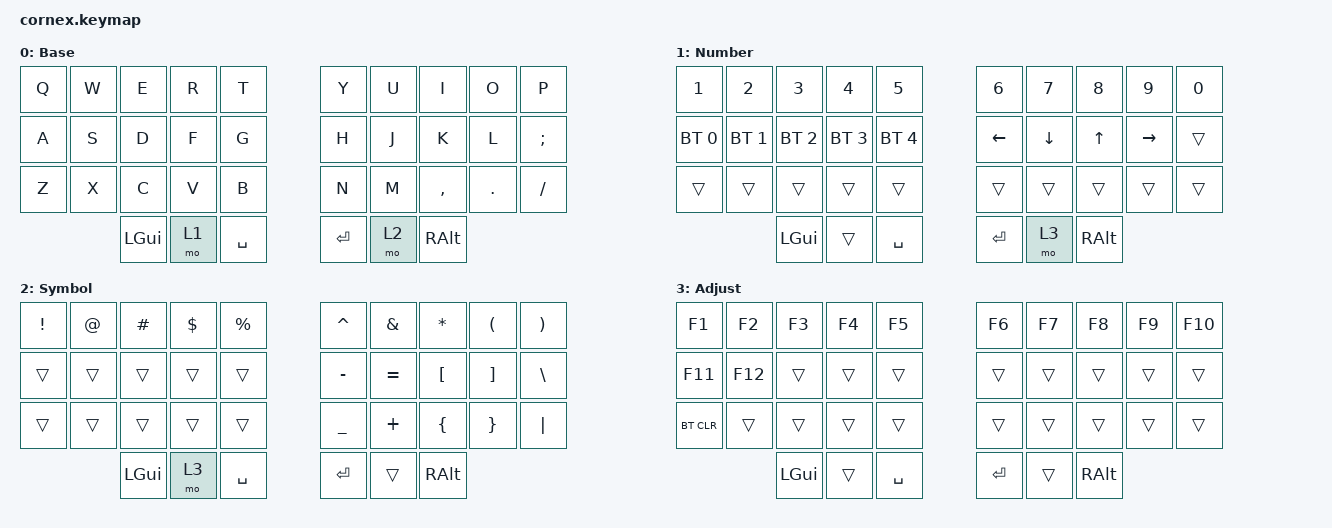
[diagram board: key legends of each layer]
/*
 * Copyright (c) 2020 The ZMK Contributors
 *
 * SPDX-License-Identifier: MIT
 */

#include <behaviors.dtsi>
#include <dt-bindings/zmk/keys.h>
#include <dt-bindings/zmk/bt.h>

/ {
        combos {
		compatible = "zmk,combos";
		
		combo_studio_unlock {
			timeout-ms = <50>;
			key-positions = <0 1>;
			bindings = <&studio_unlock>;
			layers = <0>;
		};
	};

	keymap {
		compatible = "zmk,keymap";

		default_layer {
			label = "Base";
			bindings = <
		//╭──────────┬──────────┬──────────┬──────────┬──────────╮   ╭──────────┬──────────┬──────────┬──────────┬──────────╮
		//│  Q       │  W       │  E       │  R       │  T       │   │  Y       │  U       │  I       │  O       │  P       │
			&kp Q      &kp W      &kp E      &kp R      &kp T          &kp Y      &kp U      &kp I      &kp O      &kp P
		//├──────────┼──────────┼──────────┼──────────┼──────────┤   ├──────────┼──────────┼──────────┼──────────┼──────────┤
		//│  A       │  S       │  D       │  F       │  G       │   │  H       │  J       │  K       │  L       │ ; :      │
			&kp A      &kp S      &kp D      &kp F      &kp G          &kp H      &kp J      &kp K      &kp L      &kp SEMI
		//├──────────┼──────────┼──────────┼──────────┼──────────┤   ├──────────┼──────────┼──────────┼──────────┼──────────┤
		//│  Z       │  X       │  C       │  V       │  B       │   │  N       │  M       │ , <      │ . >      │ / ?      │
			&kp Z      &kp X      &kp C      &kp V      &kp B          &kp N      &kp M      &kp COMMA  &kp DOT    &kp FSLH
		//╰──────────┴──────────┴──────────┼──────────┼──────────┼──────────┤   ├──────────┼──────────┼──────────┼──────────┴──────────┴──────────╯
											 &kp LGUI   &mo 1      &kp SPACE      &kp RET    &mo 2      &kp RALT
		//                                 ╰──────────┴──────────┴──────────╯   ╰──────────┴──────────┴──────────╯
			>;
		};

		lower_layer {
			label = "Number";
			bindings = <
		//╭──────────┬──────────┬──────────┬──────────┬──────────╮   ╭──────────┬──────────┬──────────┬──────────┬──────────╮
		//│  1       │  2       │  3       │  4       │  5       │   │  6       │  7       │  8       │  9       │  0       │
			&kp N1     &kp N2     &kp N3     &kp N4     &kp N5         &kp N6     &kp N7     &kp N8     &kp N9     &kp N0
		//├──────────┼──────────┼──────────┼──────────┼──────────┤   ├──────────┼──────────┼──────────┼──────────┼──────────┤
		//│ BT1      │ BT2      │ BT3      │ BT4      │ BT5      │   │ LEFT     │ DOWN     │ UP       │ RIGHT    │          │
		   &bt BT_SEL 0 &bt BT_SEL 1 &bt BT_SEL 2 &bt BT_SEL 3 &bt BT_SEL 4  &kp LEFT   &kp DOWN   &kp UP     &kp RIGHT  &trans
		//├──────────┼──────────┼──────────┼──────────┼──────────┤   ├──────────┼──────────┼──────────┼──────────┼──────────┤
		//│          │          │          │          │          │   │          │          │          │          │          │
			&trans     &trans     &trans     &trans     &trans         &trans     &trans     &trans     &trans     &trans
		//╰──────────┴──────────┴──────────┼──────────┼──────────┼──────────┤   ├──────────┼──────────┼──────────┼──────────┴──────────┴──────────╯
											 &kp LGUI   &trans     &kp SPACE      &kp RET    &mo 3      &kp RALT
		//                                 ╰──────────┴──────────┴──────────╯   ╰──────────┴──────────┴──────────╯
			>;
		};

		raise_layer {
			label = "Symbol";
			bindings = <
		//╭──────────┬──────────┬──────────┬──────────┬──────────╮   ╭──────────┬──────────┬──────────┬──────────┬──────────╮
		//│  !       │  @       │  #       │  $       │  %       │   │  ^       │  &       │  *       │  (       │  )       │
			&kp EXCL   &kp AT     &kp HASH   &kp DLLR   &kp PRCNT      &kp CARET  &kp AMPS   &kp ASTRK  &kp LPAR   &kp RPAR
		//├──────────┼──────────┼──────────┼──────────┼──────────┤   ├──────────┼──────────┼──────────┼──────────┼──────────┤
		//│          │          │          │          │          │   │  -       │  =       │  [       │  ]       │  \       │
			&trans     &trans     &trans     &trans     &trans         &kp MINUS  &kp EQUAL  &kp LBKT   &kp RBKT   &kp BSLH
		//├──────────┼──────────┼──────────┼──────────┼──────────┤   ├──────────┼──────────┼──────────┼──────────┼──────────┤
		//│          │          │          │          │          │   │  _       │  +       │  {       │  }       │  |       │
			&trans     &trans     &trans     &trans     &trans         &kp UNDER  &kp PLUS   &kp LBRC   &kp RBRC   &kp PIPE
		//╰──────────┴──────────┴──────────┼──────────┼──────────┼──────────┤   ├──────────┼──────────┼──────────┼──────────┴──────────┴──────────╯
											 &kp LGUI   &mo 3      &kp SPACE      &kp RET    &trans     &kp RALT
		//                                 ╰──────────┴──────────┴──────────╯   ╰──────────┴──────────┴──────────╯
			>;
		};

		adjust_layer {
			label = "Adjust";
			bindings = <
		//╭──────────┬──────────┬──────────┬──────────┬──────────╮   ╭──────────┬──────────┬──────────┬──────────┬──────────╮
		//│ F1       │  F2      │  F3      │  F4      │  F5      │   │  F6      │  F7      │  F8      │  F9      │  F10     │
			&kp F1     &kp F2     &kp F3     &kp F4     &kp F5         &kp F6     &kp F7     &kp F8     &kp F9     &kp F10
		//├──────────┼──────────┼──────────┼──────────┼──────────┤   ├──────────┼──────────┼──────────┼──────────┼──────────┤
		//│ F11      │ F12      │          │          │          │   │          │          │          │          │          │
			&kp F11    &kp F12    &trans     &trans     &trans         &trans     &trans     &trans     &trans     &trans
		//├──────────┼──────────┼──────────┼──────────┼──────────┤   ├──────────┼──────────┼──────────┼──────────┼──────────┤
		//│ BT CLR   │          │          │          │          │   │          │          │          │          │          │
		   &bt BT_CLR  &trans     &trans     &trans     &trans         &trans     &trans     &trans     &trans     &trans
		//╰──────────┴──────────┴──────────┼──────────┼──────────┼──────────┤   ├──────────┼──────────┼──────────┼──────────┴──────────┴──────────╯
											 &kp LGUI   &trans     &kp SPACE      &kp RET    &trans     &kp RALT
		//                                 ╰──────────┴──────────┴──────────╯   ╰──────────┴──────────┴──────────╯
			>;
		};
	};
};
